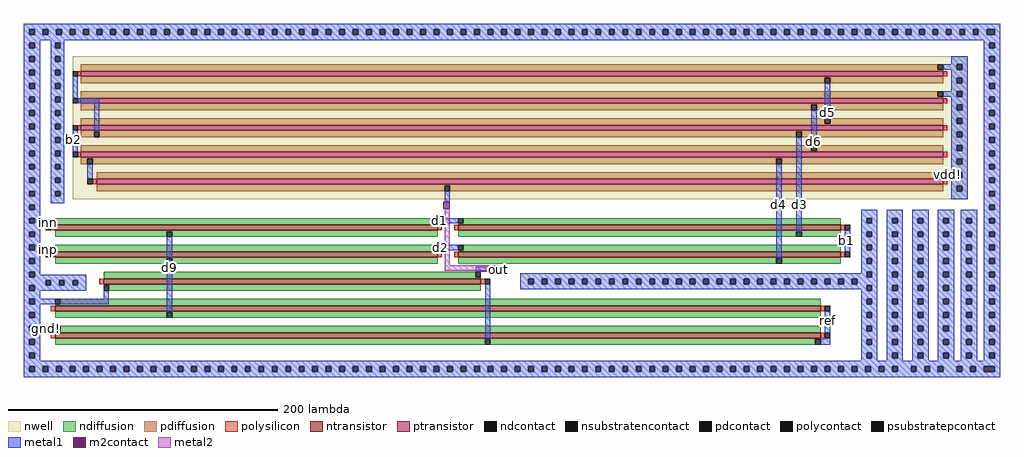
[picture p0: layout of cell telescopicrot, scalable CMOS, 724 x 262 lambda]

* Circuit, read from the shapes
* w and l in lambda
.subckt telescopicrot b1 b2 d1 d2 d3 d4 d5 d6 d9 gnd! inn inp out ref vdd!
M1 gnd! ref ref gnd! nfet w=568 l=4
M2 gnd! ref d9 gnd! nfet w=568 l=4
M3 d2 inp d9 gnd! nfet w=284 l=4
M4 d1 inn d9 gnd! nfet w=284 l=4
M5 out ref gnd! gnd! nfet w=280 l=4
M6 d2 b1 d4 gnd! nfet w=284 l=4
M7 d1 b1 d3 gnd! nfet w=284 l=4
M8 d6 b2 d4 vdd! pfet w=640 l=4
M9 d5 b2 d3 vdd! pfet w=640 l=4
M10 vdd! d3 d6 vdd! pfet w=640 l=4
M11 vdd! d3 d5 vdd! pfet w=640 l=4
M12 vdd! d4 out vdd! pfet w=628 l=4
.ends

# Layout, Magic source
magic
tech scmos
<< nwell >>
rect 6 90 670 196
<< ntransistor >>
rect -7 67 277 71
rect 292 67 576 71
rect -7 47 277 51
rect 292 47 576 51
rect 29 27 309 31
rect -7 7 561 11
rect -7 -13 561 -9
<< ptransistor >>
rect 12 181 652 185
rect 12 161 652 165
rect 12 141 652 145
rect 12 121 652 125
rect 24 101 652 105
<< ndiffusion >>
rect -7 72 273 76
rect -7 71 277 72
rect 296 72 576 76
rect 292 71 576 72
rect -7 66 277 67
rect -7 62 76 66
rect 80 62 277 66
rect 292 66 576 67
rect 292 62 543 66
rect 547 62 576 66
rect -7 52 273 56
rect -7 51 277 52
rect 296 52 576 56
rect 292 51 576 52
rect -7 46 277 47
rect -7 42 76 46
rect 80 42 277 46
rect 292 46 576 47
rect 292 42 528 46
rect 532 42 576 46
rect 29 32 305 36
rect 29 31 309 32
rect 29 26 309 27
rect 33 22 309 26
rect -3 12 561 16
rect -7 11 561 12
rect -7 6 561 7
rect -7 2 76 6
rect 80 2 561 6
rect -3 -8 561 -4
rect -7 -9 561 -8
rect -7 -14 561 -13
rect -7 -18 312 -14
rect 316 -18 557 -14
<< pdiffusion >>
rect 12 186 648 190
rect 12 185 652 186
rect 12 180 652 181
rect 12 176 564 180
rect 568 176 652 180
rect 12 166 648 170
rect 12 165 652 166
rect 12 160 652 161
rect 12 156 554 160
rect 558 156 652 160
rect 12 146 564 150
rect 568 146 652 150
rect 12 145 652 146
rect 12 140 652 141
rect 12 136 22 140
rect 26 136 543 140
rect 547 136 652 140
rect 12 126 554 130
rect 558 126 652 130
rect 12 125 652 126
rect 12 120 652 121
rect 12 116 17 120
rect 21 116 528 120
rect 532 116 652 120
rect 24 106 648 110
rect 24 105 652 106
rect 24 100 652 101
rect 24 96 282 100
rect 286 96 652 100
<< ndcontact >>
rect 273 72 277 76
rect 292 72 296 76
rect 76 62 80 66
rect 543 62 547 66
rect 273 52 277 56
rect 292 52 296 56
rect 76 42 80 46
rect 528 42 532 46
rect 305 32 309 36
rect 29 22 33 26
rect -7 12 -3 16
rect 76 2 80 6
rect -7 -8 -3 -4
rect 312 -18 316 -14
rect 557 -18 561 -14
<< pdcontact >>
rect 648 186 652 190
rect 564 176 568 180
rect 648 166 652 170
rect 554 156 558 160
rect 564 146 568 150
rect 22 136 26 140
rect 543 136 547 140
rect 554 126 558 130
rect 17 116 21 120
rect 528 116 532 120
rect 648 106 652 110
rect 282 96 286 100
<< psubstratepcontact >>
rect -26 212 -22 216
rect -16 212 -12 216
rect -6 212 -2 216
rect 4 212 8 216
rect 14 212 18 216
rect 24 212 28 216
rect 34 212 38 216
rect 44 212 48 216
rect 54 212 58 216
rect 64 212 68 216
rect 74 212 78 216
rect 84 212 88 216
rect 94 212 98 216
rect 104 212 108 216
rect 114 212 118 216
rect 124 212 128 216
rect 134 212 138 216
rect 144 212 148 216
rect 154 212 158 216
rect 164 212 168 216
rect 174 212 178 216
rect 184 212 188 216
rect 194 212 198 216
rect 204 212 208 216
rect 214 212 218 216
rect 224 212 228 216
rect 234 212 238 216
rect 244 212 248 216
rect 254 212 258 216
rect 264 212 268 216
rect 274 212 278 216
rect 284 212 288 216
rect 294 212 298 216
rect 304 212 308 216
rect 314 212 318 216
rect 324 212 328 216
rect 334 212 338 216
rect 344 212 348 216
rect 354 212 358 216
rect 364 212 368 216
rect 374 212 378 216
rect 384 212 388 216
rect 394 212 398 216
rect 404 212 408 216
rect 414 212 418 216
rect 424 212 428 216
rect 434 212 438 216
rect 444 212 448 216
rect 454 212 458 216
rect 464 212 468 216
rect 474 212 478 216
rect 484 212 488 216
rect 494 212 498 216
rect 504 212 508 216
rect 514 212 518 216
rect 524 212 528 216
rect 534 212 538 216
rect 544 212 548 216
rect 554 212 558 216
rect 564 212 568 216
rect 574 212 578 216
rect 584 212 588 216
rect 594 212 598 216
rect 604 212 608 216
rect 614 212 618 216
rect 624 212 628 216
rect 634 212 638 216
rect 644 212 648 216
rect 654 212 658 216
rect 664 212 668 216
rect 674 212 678 216
rect 684 212 690 216
rect -26 202 -22 206
rect -7 202 -3 206
rect 686 202 690 206
rect -26 192 -22 196
rect -7 192 -3 196
rect 686 192 690 196
rect -26 182 -22 186
rect -7 182 -3 186
rect 686 182 690 186
rect -26 172 -22 176
rect -7 172 -3 176
rect 686 172 690 176
rect -26 162 -22 166
rect -7 162 -3 166
rect 686 162 690 166
rect -26 152 -22 156
rect -7 152 -3 156
rect 686 152 690 156
rect -26 142 -22 146
rect -7 142 -3 146
rect 686 142 690 146
rect -26 132 -22 136
rect -7 132 -3 136
rect 686 132 690 136
rect -26 122 -22 126
rect -7 122 -3 126
rect 686 122 690 126
rect -26 112 -22 116
rect -7 112 -3 116
rect 686 112 690 116
rect -26 102 -22 106
rect -7 102 -3 106
rect 686 102 690 106
rect -26 92 -22 96
rect -7 92 -3 96
rect 686 92 690 96
rect -26 82 -22 86
rect 686 82 690 86
rect -26 72 -22 76
rect 595 72 599 76
rect 614 72 618 76
rect 633 72 637 76
rect 652 72 656 76
rect 669 72 673 76
rect 686 72 690 76
rect -26 62 -22 66
rect 595 62 599 66
rect 614 62 618 66
rect 633 62 637 66
rect 652 62 656 66
rect 669 62 673 66
rect 686 62 690 66
rect -26 52 -22 56
rect 595 52 599 56
rect 614 52 618 56
rect 633 52 637 56
rect 652 52 656 56
rect 669 52 673 56
rect 686 52 690 56
rect -26 42 -22 46
rect 595 42 599 46
rect 614 42 618 46
rect 633 42 637 46
rect 652 42 656 46
rect 669 42 673 46
rect 686 42 690 46
rect -26 32 -22 36
rect 595 32 599 36
rect 614 32 618 36
rect 633 32 637 36
rect 652 32 656 36
rect 669 32 673 36
rect 686 32 690 36
rect -14 26 -10 30
rect -4 26 0 30
rect 6 26 10 30
rect 344 27 348 31
rect 354 27 358 31
rect 364 27 368 31
rect 374 27 378 31
rect 384 27 388 31
rect 394 27 398 31
rect 404 27 408 31
rect 414 27 418 31
rect 424 27 428 31
rect 434 27 438 31
rect 444 27 448 31
rect 454 27 458 31
rect 464 27 468 31
rect 474 27 478 31
rect 484 27 488 31
rect 494 27 498 31
rect 504 27 508 31
rect 514 27 518 31
rect 524 27 528 31
rect 534 27 538 31
rect 544 27 548 31
rect 554 27 558 31
rect 564 27 568 31
rect 574 27 578 31
rect 584 27 588 31
rect -26 22 -22 26
rect 595 22 599 26
rect 614 22 618 26
rect 633 22 637 26
rect 652 22 656 26
rect 669 22 673 26
rect 686 22 690 26
rect -26 12 -22 16
rect 595 12 599 16
rect 614 12 618 16
rect 633 12 637 16
rect 652 12 656 16
rect 669 12 673 16
rect 686 12 690 16
rect -26 2 -22 6
rect 595 2 599 6
rect 614 2 618 6
rect 633 2 637 6
rect 652 2 656 6
rect 669 2 673 6
rect 686 2 690 6
rect -26 -8 -22 -4
rect 595 -8 599 -4
rect 614 -8 618 -4
rect 633 -8 637 -4
rect 652 -8 656 -4
rect 669 -8 673 -4
rect 686 -8 690 -4
rect -26 -18 -22 -14
rect 595 -18 599 -14
rect 614 -18 618 -14
rect 633 -18 637 -14
rect 652 -18 656 -14
rect 669 -18 673 -14
rect 686 -18 690 -14
rect -26 -28 -22 -24
rect 595 -28 599 -24
rect 614 -28 618 -24
rect 633 -28 637 -24
rect 652 -28 656 -24
rect 669 -28 673 -24
rect 686 -28 690 -24
rect -26 -38 -22 -34
rect -16 -38 -12 -34
rect -6 -38 -2 -34
rect 4 -38 8 -34
rect 14 -38 18 -34
rect 24 -38 28 -34
rect 34 -38 38 -34
rect 44 -38 48 -34
rect 54 -38 58 -34
rect 64 -38 68 -34
rect 74 -38 78 -34
rect 84 -38 88 -34
rect 94 -38 98 -34
rect 104 -38 108 -34
rect 114 -38 118 -34
rect 124 -38 128 -34
rect 134 -38 138 -34
rect 144 -38 148 -34
rect 154 -38 158 -34
rect 164 -38 168 -34
rect 174 -38 178 -34
rect 184 -38 188 -34
rect 194 -38 198 -34
rect 204 -38 208 -34
rect 214 -38 218 -34
rect 224 -38 228 -34
rect 234 -38 238 -34
rect 244 -38 248 -34
rect 254 -38 258 -34
rect 264 -38 268 -34
rect 274 -38 278 -34
rect 284 -38 288 -34
rect 294 -38 298 -34
rect 304 -38 308 -34
rect 314 -38 318 -34
rect 324 -38 328 -34
rect 334 -38 338 -34
rect 344 -38 348 -34
rect 354 -38 358 -34
rect 364 -38 368 -34
rect 374 -38 378 -34
rect 384 -38 388 -34
rect 394 -38 398 -34
rect 404 -38 408 -34
rect 414 -38 418 -34
rect 424 -38 428 -34
rect 434 -38 438 -34
rect 444 -38 448 -34
rect 454 -38 458 -34
rect 464 -38 468 -34
rect 474 -38 478 -34
rect 484 -38 488 -34
rect 494 -38 498 -34
rect 504 -38 508 -34
rect 514 -38 518 -34
rect 524 -38 528 -34
rect 534 -38 538 -34
rect 544 -38 548 -34
rect 554 -38 558 -34
rect 564 -38 568 -34
rect 574 -38 578 -34
rect 584 -38 588 -34
rect 594 -38 598 -34
rect 604 -38 608 -34
rect 614 -38 618 -34
rect 628 -38 632 -34
rect 638 -38 642 -34
rect 648 -38 652 -34
rect 662 -38 666 -34
rect 672 -38 676 -34
rect 682 -38 690 -34
<< nsubstratencontact >>
rect 662 186 666 190
rect 662 176 666 180
rect 662 166 666 170
rect 662 156 666 160
rect 662 146 666 150
rect 662 136 666 140
rect 662 126 666 130
rect 662 116 666 120
rect 662 106 666 110
rect 662 96 666 100
<< polysilicon >>
rect 10 181 12 185
rect 652 181 655 185
rect 10 161 12 165
rect 652 161 655 165
rect 10 141 12 145
rect 652 141 655 145
rect 10 121 12 125
rect 652 121 655 125
rect 21 101 24 105
rect 652 101 655 105
rect -10 67 -7 71
rect 277 67 280 71
rect 289 67 292 71
rect 576 67 579 71
rect -10 47 -7 51
rect 277 47 280 51
rect 289 47 292 51
rect 576 47 579 51
rect 26 27 29 31
rect 309 27 312 31
rect -10 7 -7 11
rect 561 7 564 11
rect -10 -13 -7 -9
rect 561 -13 564 -9
<< polycontact >>
rect 6 181 10 185
rect 6 161 10 165
rect 6 141 10 145
rect 6 121 10 125
rect 17 101 21 105
rect -14 67 -10 71
rect 579 67 583 71
rect -14 47 -10 51
rect 579 47 583 51
rect 312 27 316 31
rect 564 7 568 11
rect 564 -13 568 -9
<< metal1 >>
rect -30 216 694 220
rect -30 212 -26 216
rect -22 212 -16 216
rect -12 212 -6 216
rect -2 212 4 216
rect 8 212 14 216
rect 18 212 24 216
rect 28 212 34 216
rect 38 212 44 216
rect 48 212 54 216
rect 58 212 64 216
rect 68 212 74 216
rect 78 212 84 216
rect 88 212 94 216
rect 98 212 104 216
rect 108 212 114 216
rect 118 212 124 216
rect 128 212 134 216
rect 138 212 144 216
rect 148 212 154 216
rect 158 212 164 216
rect 168 212 174 216
rect 178 212 184 216
rect 188 212 194 216
rect 198 212 204 216
rect 208 212 214 216
rect 218 212 224 216
rect 228 212 234 216
rect 238 212 244 216
rect 248 212 254 216
rect 258 212 264 216
rect 268 212 274 216
rect 278 212 284 216
rect 288 212 294 216
rect 298 212 304 216
rect 308 212 314 216
rect 318 212 324 216
rect 328 212 334 216
rect 338 212 344 216
rect 348 212 354 216
rect 358 212 364 216
rect 368 212 374 216
rect 378 212 384 216
rect 388 212 394 216
rect 398 212 404 216
rect 408 212 414 216
rect 418 212 424 216
rect 428 212 434 216
rect 438 212 444 216
rect 448 212 454 216
rect 458 212 464 216
rect 468 212 474 216
rect 478 212 484 216
rect 488 212 494 216
rect 498 212 504 216
rect 508 212 514 216
rect 518 212 524 216
rect 528 212 534 216
rect 538 212 544 216
rect 548 212 554 216
rect 558 212 564 216
rect 568 212 574 216
rect 578 212 584 216
rect 588 212 594 216
rect 598 212 604 216
rect 608 212 614 216
rect 618 212 624 216
rect 628 212 634 216
rect 638 212 644 216
rect 648 212 654 216
rect 658 212 664 216
rect 668 212 674 216
rect 678 212 684 216
rect 690 212 694 216
rect -30 208 694 212
rect -30 206 -18 208
rect -30 202 -26 206
rect -22 202 -18 206
rect -30 196 -18 202
rect -30 192 -26 196
rect -22 192 -18 196
rect -30 186 -18 192
rect -30 182 -26 186
rect -22 182 -18 186
rect -30 176 -18 182
rect -30 172 -26 176
rect -22 172 -18 176
rect -30 166 -18 172
rect -30 162 -26 166
rect -22 162 -18 166
rect -30 156 -18 162
rect -30 152 -26 156
rect -22 152 -18 156
rect -30 146 -18 152
rect -30 142 -26 146
rect -22 142 -18 146
rect -30 136 -18 142
rect -30 132 -26 136
rect -22 132 -18 136
rect -30 126 -18 132
rect -30 122 -26 126
rect -22 122 -18 126
rect -30 116 -18 122
rect -30 112 -26 116
rect -22 112 -18 116
rect -30 106 -18 112
rect -30 102 -26 106
rect -22 102 -18 106
rect -30 96 -18 102
rect -30 92 -26 96
rect -22 92 -18 96
rect -30 86 -18 92
rect -10 206 0 208
rect -10 202 -7 206
rect -3 202 0 206
rect -10 196 0 202
rect 682 206 694 208
rect 682 202 686 206
rect 690 202 694 206
rect 682 196 694 202
rect -10 192 -7 196
rect -3 192 0 196
rect -10 186 0 192
rect 658 190 670 196
rect 652 186 662 190
rect 666 186 670 190
rect -10 182 -7 186
rect -3 182 0 186
rect -10 176 0 182
rect -10 172 -7 176
rect -3 172 0 176
rect -10 166 0 172
rect -10 162 -7 166
rect -3 162 0 166
rect -10 156 0 162
rect 6 165 10 181
rect 658 180 670 186
rect 10 161 26 165
rect -10 152 -7 156
rect -3 152 0 156
rect -10 146 0 152
rect -10 142 -7 146
rect -3 142 0 146
rect -10 136 0 142
rect -10 132 -7 136
rect -3 132 0 136
rect -10 126 0 132
rect -10 122 -7 126
rect -3 122 0 126
rect -10 116 0 122
rect 6 125 10 141
rect 22 140 26 161
rect -10 112 -7 116
rect -3 112 0 116
rect -10 106 0 112
rect -10 102 -7 106
rect -3 102 0 106
rect -10 96 0 102
rect 17 105 21 116
rect -10 92 -7 96
rect -3 92 0 96
rect -10 87 0 92
rect 282 88 286 96
rect -30 82 -26 86
rect -22 82 -18 86
rect -30 76 -18 82
rect -30 72 -26 76
rect -22 72 -18 76
rect -30 66 -18 72
rect -14 71 -10 75
rect 277 72 292 76
rect -30 62 -26 66
rect -22 62 -18 66
rect -30 56 -18 62
rect -30 52 -26 56
rect -22 52 -18 56
rect -30 46 -18 52
rect -14 51 -10 55
rect -30 42 -26 46
rect -22 42 -18 46
rect -30 36 -18 42
rect -30 32 -26 36
rect -22 34 -18 36
rect 76 46 80 62
rect 277 52 292 56
rect 528 46 532 116
rect 543 66 547 136
rect 554 130 558 156
rect 564 150 568 176
rect 658 176 662 180
rect 666 176 670 180
rect 658 170 670 176
rect 652 166 662 170
rect 666 166 670 170
rect 658 160 670 166
rect 658 156 662 160
rect 666 156 670 160
rect 658 150 670 156
rect 658 146 662 150
rect 666 146 670 150
rect 658 140 670 146
rect 658 136 662 140
rect 666 136 670 140
rect 658 130 670 136
rect 658 126 662 130
rect 666 126 670 130
rect 658 120 670 126
rect 658 116 662 120
rect 666 116 670 120
rect 658 110 670 116
rect 652 106 662 110
rect 666 106 670 110
rect 658 100 670 106
rect 658 96 662 100
rect 666 96 670 100
rect 658 90 670 96
rect 682 192 686 196
rect 690 192 694 196
rect 682 186 694 192
rect 682 182 686 186
rect 690 182 694 186
rect 682 176 694 182
rect 682 172 686 176
rect 690 172 694 176
rect 682 166 694 172
rect 682 162 686 166
rect 690 162 694 166
rect 682 156 694 162
rect 682 152 686 156
rect 690 152 694 156
rect 682 146 694 152
rect 682 142 686 146
rect 690 142 694 146
rect 682 136 694 142
rect 682 132 686 136
rect 690 132 694 136
rect 682 126 694 132
rect 682 122 686 126
rect 690 122 694 126
rect 682 116 694 122
rect 682 112 686 116
rect 690 112 694 116
rect 682 106 694 112
rect 682 102 686 106
rect 690 102 694 106
rect 682 96 694 102
rect 682 92 686 96
rect 690 92 694 96
rect 682 86 694 92
rect 682 82 686 86
rect 690 82 694 86
rect 591 76 603 82
rect 591 72 595 76
rect 599 72 603 76
rect 579 51 583 67
rect 591 66 603 72
rect 591 62 595 66
rect 599 62 603 66
rect 591 56 603 62
rect 591 52 595 56
rect 599 52 603 56
rect 591 46 603 52
rect 591 42 595 46
rect 599 42 603 46
rect -22 32 16 34
rect -30 30 16 32
rect -30 26 -14 30
rect -10 26 -4 30
rect 0 26 6 30
rect 10 26 16 30
rect -30 22 -26 26
rect -22 22 16 26
rect -30 16 -18 22
rect 29 16 33 22
rect -30 12 -26 16
rect -22 12 -7 16
rect -3 12 33 16
rect -30 6 -18 12
rect -30 2 -26 6
rect -22 2 -18 6
rect 76 6 80 42
rect 305 36 315 40
rect 320 36 324 40
rect 591 36 603 42
rect 591 35 595 36
rect 338 32 595 35
rect 599 32 603 36
rect 338 31 603 32
rect -30 -4 -18 2
rect -30 -8 -26 -4
rect -22 -8 -7 -4
rect -30 -14 -18 -8
rect -30 -18 -26 -14
rect -22 -18 -18 -14
rect 312 -14 316 27
rect 338 27 344 31
rect 348 27 354 31
rect 358 27 364 31
rect 368 27 374 31
rect 378 27 384 31
rect 388 27 394 31
rect 398 27 404 31
rect 408 27 414 31
rect 418 27 424 31
rect 428 27 434 31
rect 438 27 444 31
rect 448 27 454 31
rect 458 27 464 31
rect 468 27 474 31
rect 478 27 484 31
rect 488 27 494 31
rect 498 27 504 31
rect 508 27 514 31
rect 518 27 524 31
rect 528 27 534 31
rect 538 27 544 31
rect 548 27 554 31
rect 558 27 564 31
rect 568 27 574 31
rect 578 27 584 31
rect 588 27 603 31
rect 338 26 603 27
rect 338 23 595 26
rect 591 22 595 23
rect 599 22 603 26
rect 591 16 603 22
rect 591 12 595 16
rect 599 12 603 16
rect 564 -9 568 7
rect 564 -14 568 -13
rect 561 -18 568 -14
rect 591 6 603 12
rect 591 2 595 6
rect 599 2 603 6
rect 591 -4 603 2
rect 591 -8 595 -4
rect 599 -8 603 -4
rect 591 -14 603 -8
rect 591 -18 595 -14
rect 599 -18 603 -14
rect -30 -24 -18 -18
rect -30 -28 -26 -24
rect -22 -28 -18 -24
rect -30 -30 -18 -28
rect 591 -24 603 -18
rect 591 -28 595 -24
rect 599 -28 603 -24
rect 591 -30 603 -28
rect 610 76 622 82
rect 610 72 614 76
rect 618 72 622 76
rect 610 66 622 72
rect 610 62 614 66
rect 618 62 622 66
rect 610 56 622 62
rect 610 52 614 56
rect 618 52 622 56
rect 610 46 622 52
rect 610 42 614 46
rect 618 42 622 46
rect 610 36 622 42
rect 610 32 614 36
rect 618 32 622 36
rect 610 26 622 32
rect 610 22 614 26
rect 618 22 622 26
rect 610 16 622 22
rect 610 12 614 16
rect 618 12 622 16
rect 610 6 622 12
rect 610 2 614 6
rect 618 2 622 6
rect 610 -4 622 2
rect 610 -8 614 -4
rect 618 -8 622 -4
rect 610 -14 622 -8
rect 610 -18 614 -14
rect 618 -18 622 -14
rect 610 -24 622 -18
rect 610 -28 614 -24
rect 618 -28 622 -24
rect 610 -30 622 -28
rect 629 76 641 82
rect 629 72 633 76
rect 637 72 641 76
rect 629 66 641 72
rect 629 62 633 66
rect 637 62 641 66
rect 629 56 641 62
rect 629 52 633 56
rect 637 52 641 56
rect 629 46 641 52
rect 629 42 633 46
rect 637 42 641 46
rect 629 36 641 42
rect 629 32 633 36
rect 637 32 641 36
rect 629 26 641 32
rect 629 22 633 26
rect 637 22 641 26
rect 629 16 641 22
rect 629 12 633 16
rect 637 12 641 16
rect 629 6 641 12
rect 629 2 633 6
rect 637 2 641 6
rect 629 -4 641 2
rect 629 -8 633 -4
rect 637 -8 641 -4
rect 629 -14 641 -8
rect 629 -18 633 -14
rect 637 -18 641 -14
rect 629 -24 641 -18
rect 629 -28 633 -24
rect 637 -28 641 -24
rect 629 -30 641 -28
rect 648 76 660 82
rect 648 72 652 76
rect 656 72 660 76
rect 648 66 660 72
rect 648 62 652 66
rect 656 62 660 66
rect 648 56 660 62
rect 648 52 652 56
rect 656 52 660 56
rect 648 46 660 52
rect 648 42 652 46
rect 656 42 660 46
rect 648 36 660 42
rect 648 32 652 36
rect 656 32 660 36
rect 648 26 660 32
rect 648 22 652 26
rect 656 22 660 26
rect 648 16 660 22
rect 648 12 652 16
rect 656 12 660 16
rect 648 6 660 12
rect 648 2 652 6
rect 656 2 660 6
rect 648 -4 660 2
rect 648 -8 652 -4
rect 656 -8 660 -4
rect 648 -14 660 -8
rect 648 -18 652 -14
rect 656 -18 660 -14
rect 648 -24 660 -18
rect 648 -28 652 -24
rect 656 -28 660 -24
rect 648 -30 660 -28
rect 665 76 677 82
rect 665 72 669 76
rect 673 72 677 76
rect 665 66 677 72
rect 665 62 669 66
rect 673 62 677 66
rect 665 56 677 62
rect 665 52 669 56
rect 673 52 677 56
rect 665 46 677 52
rect 665 42 669 46
rect 673 42 677 46
rect 665 36 677 42
rect 665 32 669 36
rect 673 32 677 36
rect 665 26 677 32
rect 665 22 669 26
rect 673 22 677 26
rect 665 16 677 22
rect 665 12 669 16
rect 673 12 677 16
rect 665 6 677 12
rect 665 2 669 6
rect 673 2 677 6
rect 665 -4 677 2
rect 665 -8 669 -4
rect 673 -8 677 -4
rect 665 -14 677 -8
rect 665 -18 669 -14
rect 673 -18 677 -14
rect 665 -24 677 -18
rect 665 -28 669 -24
rect 673 -28 677 -24
rect 665 -30 677 -28
rect 682 76 694 82
rect 682 72 686 76
rect 690 72 694 76
rect 682 66 694 72
rect 682 62 686 66
rect 690 62 694 66
rect 682 56 694 62
rect 682 52 686 56
rect 690 52 694 56
rect 682 46 694 52
rect 682 42 686 46
rect 690 42 694 46
rect 682 36 694 42
rect 682 32 686 36
rect 690 32 694 36
rect 682 26 694 32
rect 682 22 686 26
rect 690 22 694 26
rect 682 16 694 22
rect 682 12 686 16
rect 690 12 694 16
rect 682 6 694 12
rect 682 2 686 6
rect 690 2 694 6
rect 682 -4 694 2
rect 682 -8 686 -4
rect 690 -8 694 -4
rect 682 -14 694 -8
rect 682 -18 686 -14
rect 690 -18 694 -14
rect 682 -24 694 -18
rect 682 -28 686 -24
rect 690 -28 694 -24
rect 682 -30 694 -28
rect -30 -34 694 -30
rect -30 -38 -26 -34
rect -22 -38 -16 -34
rect -12 -38 -6 -34
rect -2 -38 4 -34
rect 8 -38 14 -34
rect 18 -38 24 -34
rect 28 -38 34 -34
rect 38 -38 44 -34
rect 48 -38 54 -34
rect 58 -38 64 -34
rect 68 -38 74 -34
rect 78 -38 84 -34
rect 88 -38 94 -34
rect 98 -38 104 -34
rect 108 -38 114 -34
rect 118 -38 124 -34
rect 128 -38 134 -34
rect 138 -38 144 -34
rect 148 -38 154 -34
rect 158 -38 164 -34
rect 168 -38 174 -34
rect 178 -38 184 -34
rect 188 -38 194 -34
rect 198 -38 204 -34
rect 208 -38 214 -34
rect 218 -38 224 -34
rect 228 -38 234 -34
rect 238 -38 244 -34
rect 248 -38 254 -34
rect 258 -38 264 -34
rect 268 -38 274 -34
rect 278 -38 284 -34
rect 288 -38 294 -34
rect 298 -38 304 -34
rect 308 -38 314 -34
rect 318 -38 324 -34
rect 328 -38 334 -34
rect 338 -38 344 -34
rect 348 -38 354 -34
rect 358 -38 364 -34
rect 368 -38 374 -34
rect 378 -38 384 -34
rect 388 -38 394 -34
rect 398 -38 404 -34
rect 408 -38 414 -34
rect 418 -38 424 -34
rect 428 -38 434 -34
rect 438 -38 444 -34
rect 448 -38 454 -34
rect 458 -38 464 -34
rect 468 -38 474 -34
rect 478 -38 484 -34
rect 488 -38 494 -34
rect 498 -38 504 -34
rect 508 -38 514 -34
rect 518 -38 524 -34
rect 528 -38 534 -34
rect 538 -38 544 -34
rect 548 -38 554 -34
rect 558 -38 564 -34
rect 568 -38 574 -34
rect 578 -38 584 -34
rect 588 -38 594 -34
rect 598 -38 604 -34
rect 608 -38 614 -34
rect 618 -38 628 -34
rect 632 -38 638 -34
rect 642 -38 648 -34
rect 652 -38 662 -34
rect 666 -38 672 -34
rect 676 -38 682 -34
rect 690 -38 694 -34
rect -30 -42 694 -38
<< m2contact >>
rect 281 83 286 88
rect 315 36 320 41
<< metal2 >>
rect 282 41 286 83
rect 282 37 315 41
<< labels >>
rlabel metal1 7 134 7 134 3 b2
rlabel metal1 530 86 530 86 3 d4
rlabel metal1 545 86 545 86 3 d3
rlabel metal1 566 154 566 154 3 d5
rlabel metal1 556 133 556 133 3 d6
rlabel metal1 580 59 580 59 3 b1
rlabel metal1 566 0 566 0 3 ref
rlabel metal1 322 38 322 38 3 out
rlabel metal1 -12 53 -12 53 3 inp
rlabel metal1 -12 73 -12 73 3 inn
rlabel metal1 78 39 78 39 3 d9
rlabel metal1 278 74 278 74 3 d1
rlabel metal1 279 54 279 54 3 d2
rlabel metal1 -13 -6 -13 -6 3 gnd!
rlabel metal1 655 108 655 108 3 vdd!
<< end >>
